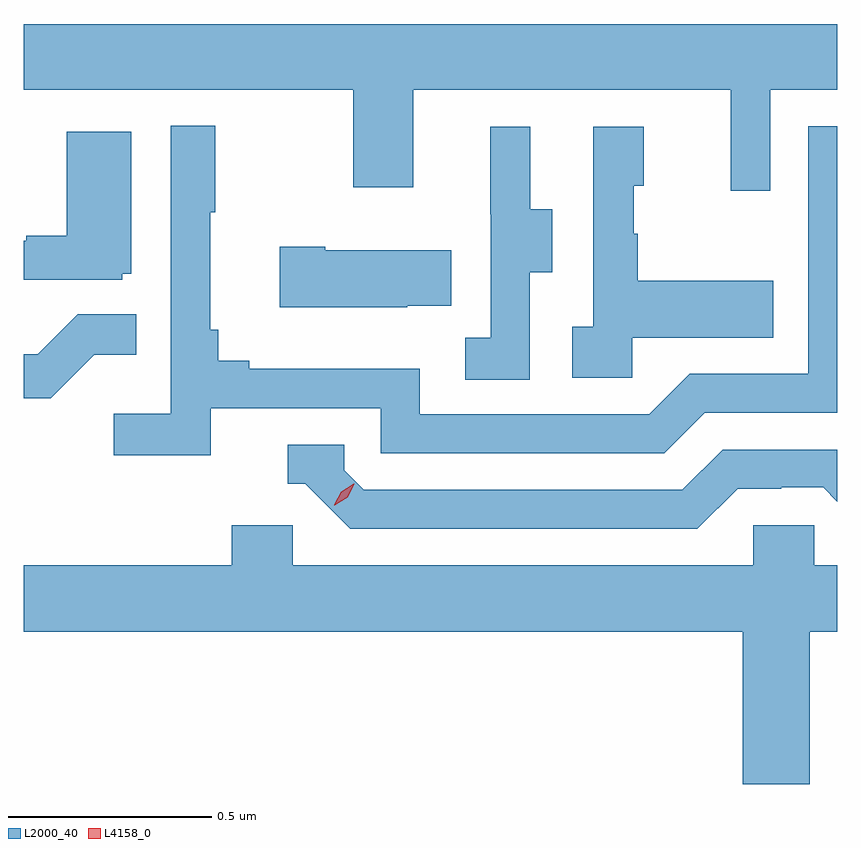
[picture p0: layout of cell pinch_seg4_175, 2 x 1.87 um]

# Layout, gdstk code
import gdstk
lib = gdstk.Library(unit=1e-6, precision=1e-09)
def P(c, l, *ps):  # polygons
    for p in ps: c.add(gdstk.Polygon(p, *l))
L2000_40 = (2000, 40)
L4158_0 = (4158, 0)

pinch_seg4_175 = lib.new_cell('pinch_seg4_175')
P(pinch_seg4_175, L2000_40, [(1112.127,806.144),(1112.292,806.144),(1112.292,806.306),(1110.292,806.306),(1110.292,806.144),(1111.102,806.144),(1111.102,805.905),(1111.249,805.905),(1111.249,806.144),(1112.03,806.144),(1112.03,805.896),(1112.127,805.896)],
  [(1110.752,805.362),(1111.17,805.362),(1111.17,805.251),(1111.867,805.251),(1111.966,805.35),(1112.292,805.35),(1112.292,806.055),(1112.22,806.055),(1112.22,805.446),(1111.929,805.446),(1111.83,805.347),(1111.266,805.347),(1111.266,805.459),(1110.847,805.459),(1110.847,805.478),(1110.77,805.478),(1110.77,805.555),(1110.751,805.555),(1110.751,805.843),(1110.763,805.843),(1110.763,806.056),(1110.654,806.056),(1110.654,805.348),(1110.513,805.348),(1110.513,805.246),(1110.752,805.246)],
  [(1111.788,805.535),(1112.135,805.535),(1112.135,805.675),(1111.801,805.675),(1111.801,805.79),(1111.791,805.79),(1111.791,805.908),(1111.816,805.908),(1111.816,806.053),(1111.692,806.053),(1111.692,805.562),(1111.641,805.562),(1111.641,805.437),(1111.788,805.437)],
  [(1111.536,805.696),(1111.591,805.696),(1111.591,805.851),(1111.537,805.851),(1111.537,806.053),(1111.439,806.053),(1111.439,805.839),(1111.44,805.839),(1111.44,805.535),(1111.377,805.535),(1111.377,805.432),(1111.536,805.432)],
  [(1110.534,805.692),(1110.556,805.692),(1110.556,806.041),(1110.398,806.041),(1110.398,805.786),(1110.299,805.786),(1110.299,805.773),(1110.292,805.773),(1110.292,805.677),(1110.534,805.677)],
  [(1111.235,805.613),(1111.343,805.613),(1111.343,805.75),(1111.033,805.75),(1111.033,805.758),(1110.921,805.758),(1110.921,805.61),(1111.235,805.61)],
  [(1110.465,805.493),(1110.569,805.493),(1110.569,805.592),(1110.425,805.592),(1110.327,805.494),(1110.292,805.494),(1110.292,805.386),(1110.358,805.386)],
  [(1112.047,805.164),(1112.154,805.164),(1112.154,805.167),(1112.257,805.167),(1112.292,805.132),(1112.292,805.26),(1112.01,805.26),(1111.911,805.161),(1111.128,805.161),(1111.08,805.209),(1111.08,805.272),(1110.941,805.272),(1110.941,805.176),(1110.984,805.176),(1111.095,805.065),(1111.948,805.065)],
  [(1112.224,804.812),(1112.292,804.812),(1112.292,804.976),(1112.235,804.976),(1112.235,805.074),(1112.085,805.074),(1112.085,804.976),(1110.954,804.976),(1110.954,805.074),(1110.803,805.074),(1110.803,804.976),(1110.292,804.976),(1110.292,804.812),(1112.06,804.812),(1112.06,804.438),(1112.224,804.438)])
P(pinch_seg4_175, L4158_0, [(1111.056,805.123),(1111.056,805.124),(1111.073,805.156),(1111.103,805.176),(1111.104,805.176),(1111.104,805.175),(1111.088,805.143),(1111.057,805.123)])

lib.write_gds('pinch_seg4_175.gds')
